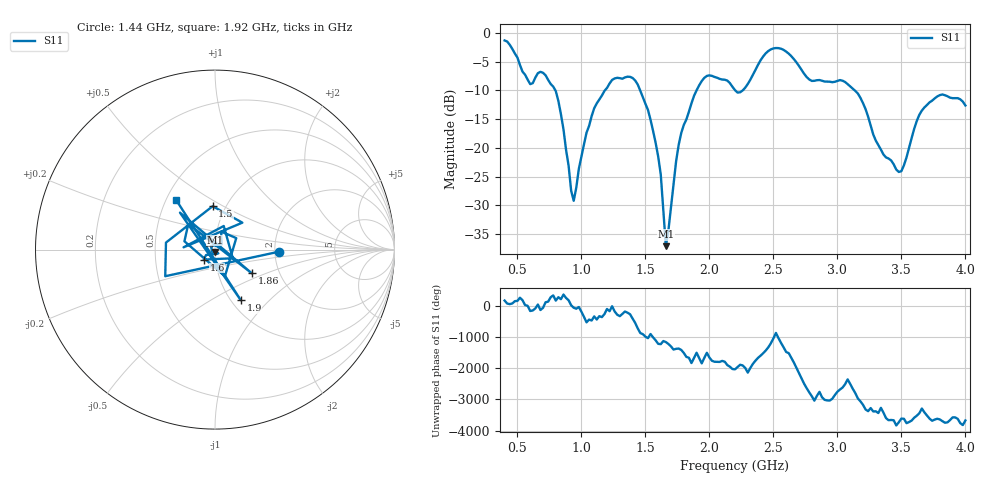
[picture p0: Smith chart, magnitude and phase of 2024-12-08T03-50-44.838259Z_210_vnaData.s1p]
!Created with skrf (http://scikit-rf.org).
# Hz S RI R 50.0
!freq ReS11 ImS11
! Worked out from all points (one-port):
!   181 points, 400 MHz to 4 GHz, reference 50 ohm
!   lowest |S11| = -37.1 dB at 1.66 GHz (marker M1), VSWR 1.03, Z = 50.2 - j1.38 ohm
!   |S11| at or under -10 dB: 796.8 MHz to 1.184 GHz (386.7 MHz wide, 39.1 % of centre); 1.459 GHz to 1.9 GHz (440.6 MHz wide, 26.2 % of centre); 3.136 GHz to end of sweep (the widest 3 of 4)
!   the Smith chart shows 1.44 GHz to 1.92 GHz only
!   S11 on the Smith chart (normalised r, x): 1.44 GHz: 2.10, -0.06; 1.5 GHz: 0.87, +0.45; 1.6 GHz: 0.88, -0.10; 1.86 GHz: 1.45, -0.41; 1.9 GHz: 1.11, -0.69; 1.92 GHz: 0.56, +0.35
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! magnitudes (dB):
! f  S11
! 400 MHz  -1.3
! 600 MHz  -8.9
! 680 MHz  -6.8
! 780 MHz  -9.3
! 860 MHz  -16.8
! 940 MHz  -29.2
! 1.1 GHz  -13.1
! 1.3 GHz  -7.9
! 1.44 GHz  -9.0
! 1.5 GHz  -12.3
! 1.6 GHz  -21.5
! 1.62 GHz  -24.6
! 1.66 GHz  -37.1
! 1.76 GHz  -19.5
! 1.86 GHz  -12.2
! 1.9 GHz  -10.0
! 1.92 GHz  -9.1
! 2 GHz  -7.4
! 2.2 GHz  -10.0
! 2.48 GHz  -2.9
! 2.66 GHz  -4.6
! 2.8 GHz  -8.3
! 3.1 GHz  -9.3
! 3.46 GHz  -23.8
! 3.56 GHz  -19.9
! 3.64 GHz  -14.3
! 3.78 GHz  -11.1
! 4 GHz  -12.6
